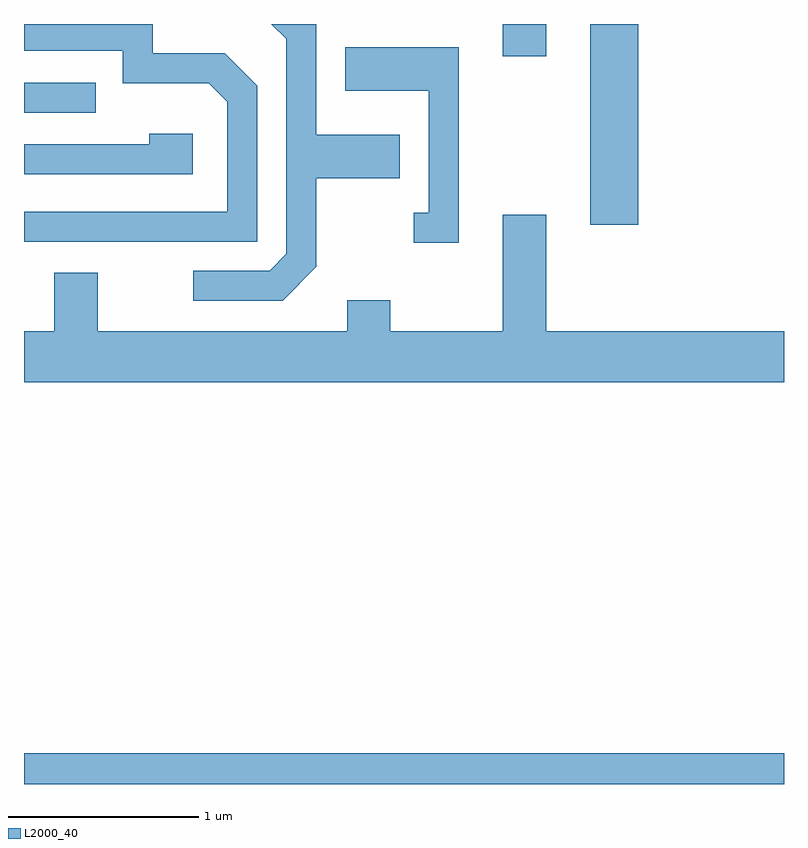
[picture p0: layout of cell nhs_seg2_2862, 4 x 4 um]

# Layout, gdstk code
import gdstk
lib = gdstk.Library(unit=1e-6, precision=1e-09)
def R(c, l, rs):  # rectangles x0, y0, x1, y1
    for r in rs: c.add(gdstk.rectangle(r[:2], r[2:], *l))
def P(c, l, *ps):  # polygons
    for p in ps: c.add(gdstk.Polygon(p, *l))
L2000_40 = (2000, 40)

nhs_seg2_2862 = lib.new_cell('nhs_seg2_2862')
R(nhs_seg2_2862, L2000_40, [(269.611,1001.802,273.611,1001.964), (272.591,1004.746,272.844,1005.802), (269.611,1005.336,269.988,1005.494), (272.131,1005.631,272.359,1005.802)])
P(nhs_seg2_2862, L2000_40, [(271.149,1004.524),(271.149,1004.991),(271.589,1004.991),(271.589,1005.219),(271.149,1005.219),(271.149,1005.802),(270.913,1005.802),(270.991,1005.724),(270.991,1004.592),(270.904,1004.504),(270.503,1004.504),(270.503,1004.346),(270.972,1004.346)],
  [(270.839,1005.477),(270.667,1005.649),(270.289,1005.649),(270.289,1005.802),(269.611,1005.802),(269.611,1005.661),(270.131,1005.661),(270.131,1005.491),(270.584,1005.491),(270.681,1005.394),(270.681,1004.814),(269.611,1004.814),(269.611,1004.656),(270.839,1004.656)],
  [(271.899,1005.679),(271.301,1005.679),(271.301,1005.451),(271.741,1005.451),(271.741,1004.809),(271.663,1004.809),(271.663,1004.651),(271.899,1004.651)],
  [(270.499,1005.224),(270.271,1005.224),(270.271,1005.169),(269.611,1005.169),(269.611,1005.011),(270.499,1005.011)],
  [(273.611,1004.184),(272.359,1004.184),(272.359,1004.799),(272.131,1004.799),(272.131,1004.184),(271.539,1004.184),(271.539,1004.349),(271.311,1004.349),(271.311,1004.184),(269.999,1004.184),(269.999,1004.494),(269.771,1004.494),(269.771,1004.184),(269.611,1004.184),(269.611,1003.916),(273.611,1003.916)])

lib.write_gds('nhs_seg2_2862.gds')
